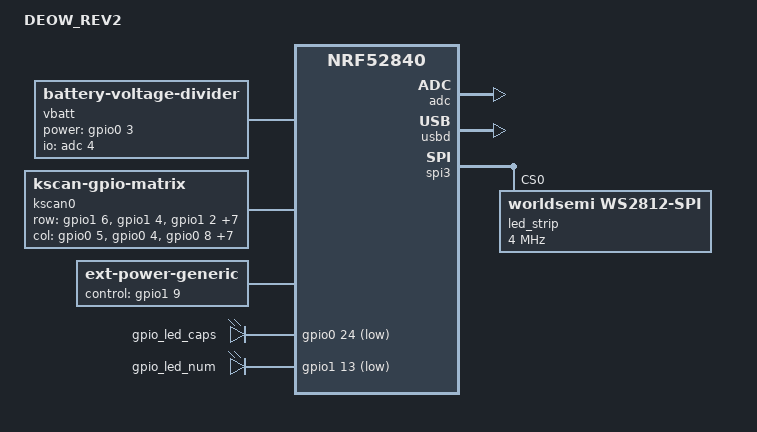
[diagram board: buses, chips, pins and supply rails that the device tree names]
/*
 * Copyright (c) 2024 Deemen17 Works
 *
 * SPDX-License-Identifier: MIT
 */

/dts-v1/;
#include <nordic/nrf52840_qiaa.dtsi>
#include <dt-bindings/led/led.h>

#include "deow_rev2-pinctrl.dtsi"
#include "deow_rev2-layouts.dtsi"
#include "deow_rev2-transforms.dtsi"

/ {
    model = "DEOW_REV2";
    compatible = "DEOW", "Rev2";

    chosen {
        zephyr,code-partition = &code_partition;
        zephyr,sram = &sram0;
        zephyr,flash = &flash0;
        zmk,kscan = &kscan0;
        zmk,underglow = &led_strip;
        zmk,battery = &vbatt;
        zmk,studio-rpc-uart = &cdc_acm_uart;
    };

    vbatt: vbatt {
        compatible = "zmk,battery-voltage-divider";
        io-channels = <&adc 4>; // P0.28
        output-ohms = <2000000>;
        full-ohms = <(1000000 + 2000000)>;
        power-gpios = <&gpio0 3 GPIO_ACTIVE_HIGH>; // P0.03
    };

    kscan0: kscan {
        compatible = "zmk,kscan-gpio-matrix";
        wakeup-source;
        diode-direction = "col2row";
        row-gpios
            = <&gpio1 6  (GPIO_ACTIVE_HIGH | GPIO_PULL_DOWN)>
            , <&gpio1 4  (GPIO_ACTIVE_HIGH | GPIO_PULL_DOWN)>
            , <&gpio1 2  (GPIO_ACTIVE_HIGH | GPIO_PULL_DOWN)>
            , <&gpio1 0  (GPIO_ACTIVE_HIGH | GPIO_PULL_DOWN)>
            , <&gpio0 22 (GPIO_ACTIVE_HIGH | GPIO_PULL_DOWN)>
            , <&gpio0 20 (GPIO_ACTIVE_HIGH | GPIO_PULL_DOWN)>
            , <&gpio0 17 (GPIO_ACTIVE_HIGH | GPIO_PULL_DOWN)>
            , <&gpio0 15 (GPIO_ACTIVE_HIGH | GPIO_PULL_DOWN)>
            , <&gpio0 7  (GPIO_ACTIVE_HIGH | GPIO_PULL_DOWN)>
            , <&gpio0 12 (GPIO_ACTIVE_HIGH | GPIO_PULL_DOWN)>
            ;
        col-gpios
            = <&gpio0 5  GPIO_ACTIVE_HIGH>
            , <&gpio0 4  GPIO_ACTIVE_HIGH>
            , <&gpio0 8  GPIO_ACTIVE_HIGH>
            , <&gpio0 6  GPIO_ACTIVE_HIGH>
            , <&gpio0 26 GPIO_ACTIVE_HIGH>
            , <&gpio0 30 GPIO_ACTIVE_HIGH>
            , <&gpio0 31 GPIO_ACTIVE_HIGH>
            , <&gpio0 29 GPIO_ACTIVE_HIGH>
            , <&gpio1 10 GPIO_ACTIVE_HIGH>
            , <&gpio1 11 GPIO_ACTIVE_HIGH>
            ;
    };

    ext-power {
        compatible = "zmk,ext-power-generic";
        control-gpios = <&gpio1 9 GPIO_ACTIVE_HIGH>;
    };

    aliases {
        led-caps = &gpio_led_caps;
        led-num = &gpio_led_num;
    };

    leds {
        compatible = "gpio-leds";
        status = "okay";

        gpio_led_caps: led_caps {
            gpios = <&gpio0 24 (GPIO_ACTIVE_LOW)>;
        };
        
        gpio_led_num: led_num {
            gpios = <&gpio1 13 (GPIO_ACTIVE_LOW)>;
        };
    };
};

&gpio0 {
    status = "okay";
};

&gpio1 {
    status = "okay";
};

&adc {
    status = "okay";
};

zephyr_udc0: &usbd {
    status = "okay";
};

&usbd {
    status = "okay";
    cdc_acm_uart: cdc_acm_uart {
        compatible = "zephyr,cdc-acm-uart";
    };
};

&spi3 {
    compatible = "nordic,nrf-spim";
    status = "okay";
    pinctrl-0 = <&spi3_default>;
    pinctrl-1 = <&spi3_sleep>;
    pinctrl-names = "default", "sleep";
    led_strip: ws2812@0 {
        compatible = "worldsemi,ws2812-spi";
        /* SPI */
        reg = <0>; /* ignored, but necessary for SPI bindings */
        spi-max-frequency = <4000000>;
        /* WS2812 */
        chain-length = <14>; /* LED strip length */
        spi-one-frame = <0x70>;
        spi-zero-frame = <0x40>;
        color-mapping = <LED_COLOR_ID_GREEN LED_COLOR_ID_RED LED_COLOR_ID_BLUE>;
    };
};

&flash0 {
    /*
     * For more information, see:
     * http://docs.zephyrproject.org/latest/devices/dts/flash_partitions.html
     */
    partitions {
        compatible = "fixed-partitions";
        #address-cells = <1>;
        #size-cells = <1>;

        sd_partition: partition@0 {
            label = "softdevice";
            reg = <0x00000000 0x00026000>;
        };
        code_partition: partition@26000 {
            label = "code_partition";
            reg = <0x00026000 0x000c6000>;
        };

        /*
         * The flash starting at 0x000ec000 and ending at
         * 0x000f3fff is reserved for use by the application.
         */

        /*
         * Storage partition will be used by FCB/LittleFS/NVS
         * if enabled.
         */
        storage_partition: partition@ec000 {
            label = "storage";
            reg = <0x000ec000 0x00008000>;
        };

        boot_partition: partition@f4000 {
            label = "adafruit_boot";
            reg = <0x000f4000 0x0000c000>;
        };
    };
};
